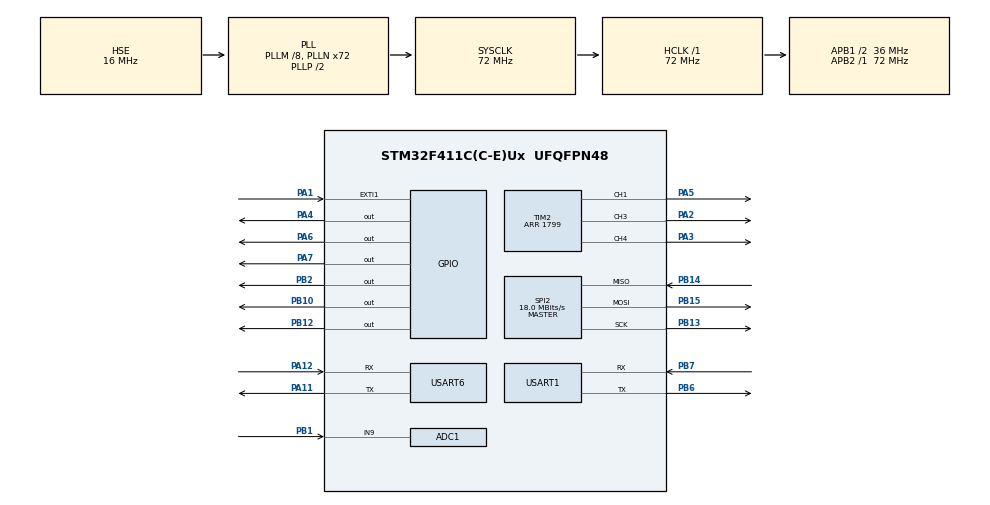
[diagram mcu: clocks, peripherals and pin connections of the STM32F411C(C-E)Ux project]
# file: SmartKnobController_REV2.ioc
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ADC1.Channel-0\#ChannelRegularConversion=ADC_CHANNEL_9
ADC1.ClockPrescaler=ADC_CLOCK_SYNC_PCLK_DIV4
ADC1.ContinuousConvMode=DISABLE
ADC1.NbrOfConversionFlag=1
ADC1.Rank-0\#ChannelRegularConversion=1
ADC1.SamplingTime-0\#ChannelRegularConversion=ADC_SAMPLETIME_3CYCLES
ADC1.master=1
Mcu.Family=STM32F4
Mcu.Name=STM32F411C(C-E)Ux
Mcu.Package=UFQFPN48
NVIC.EXTI1_IRQn=true\:0\:0\:false\:false\:true\:true\:true\:true
NVIC.PriorityGroup=NVIC_PRIORITYGROUP_4
NVIC.TIM2_IRQn=true\:1\:0\:true\:false\:true\:true\:true\:true
PA1.GPIO_ModeDefaultEXTI=GPIO_MODE_IT_RISING_FALLING
PA1.Signal=GPXTI1
PA11.Mode=Asynchronous
PA11.Signal=USART6_TX
PA12.Mode=Asynchronous
PA12.Signal=USART6_RX
PA13.Mode=Trace_Asynchronous_SW
PA13.Signal=SYS_JTMS-SWDIO
PA14.Mode=Trace_Asynchronous_SW
PA14.Signal=SYS_JTCK-SWCLK
PA2.Signal=S_TIM2_CH3
PA3.Signal=S_TIM2_CH4
PA4.PinState=GPIO_PIN_RESET
PA4.Signal=GPIO_Output
PA5.Signal=S_TIM2_CH1_ETR
PA6.PinState=GPIO_PIN_RESET
PA6.Signal=GPIO_Output
PA7.PinState=GPIO_PIN_RESET
PA7.Signal=GPIO_Output
PB1.Signal=ADCx_IN9
PB10.PinState=GPIO_PIN_SET
PB10.Signal=GPIO_Output
PB12.Signal=GPIO_Output
PB13.Mode=Full_Duplex_Master
PB13.Signal=SPI2_SCK
PB14.Mode=Full_Duplex_Master
PB14.Signal=SPI2_MISO
PB15.Mode=Full_Duplex_Master
PB15.Signal=SPI2_MOSI
PB2.PinState=GPIO_PIN_SET
PB2.Signal=GPIO_Output
PB3.Mode=Trace_Asynchronous_SW
PB3.Signal=SYS_JTDO-SWO
PB6.Mode=Asynchronous
PB6.Signal=USART1_TX
PB7.Mode=Asynchronous
PB7.Signal=USART1_RX
PH0\ -\ OSC_IN.Mode=HSE-External-Oscillator
PH0\ -\ OSC_IN.Signal=RCC_OSC_IN
PH1\ -\ OSC_OUT.Mode=HSE-External-Oscillator
PH1\ -\ OSC_OUT.Signal=RCC_OSC_OUT
ProjectManager.HeapSize=0x200
ProjectManager.StackSize=0x400
ProjectManager.TargetToolchain=STM32CubeIDE
RCC.48MHZClocksFreq_Value=36000000
RCC.AHBFreq_Value=72000000
RCC.APB1CLKDivider=RCC_HCLK_DIV2
RCC.APB1Freq_Value=36000000
RCC.APB1TimFreq_Value=72000000
RCC.APB2Freq_Value=72000000
RCC.APB2TimFreq_Value=72000000
RCC.CortexFreq_Value=72000000
RCC.HCLKFreq_Value=72000000
RCC.HSE_VALUE=16000000
RCC.HSI_VALUE=16000000
RCC.LSE_VALUE=32768
RCC.PLLM=8
RCC.PLLN=72
RCC.PLLSourceVirtual=RCC_PLLSOURCE_HSE
RCC.SYSCLKFreq_VALUE=72000000
RCC.SYSCLKSource=RCC_SYSCLKSOURCE_PLLCLK
RCC.VCOOutputFreq_Value=144000000
SH.ADCx_IN9.0=ADC1_IN9,IN9
SH.S_TIM2_CH1_ETR.0=TIM2_CH1,PWM Generation1 CH1
SH.S_TIM2_CH3.0=TIM2_CH3,PWM Generation3 CH3
SH.S_TIM2_CH4.0=TIM2_CH4,PWM Generation4 CH4
SPI2.CLKPhase=SPI_PHASE_2EDGE
SPI2.CalculateBaudRate=18.0 MBits/s
SPI2.DataSize=SPI_DATASIZE_16BIT
SPI2.Direction=SPI_DIRECTION_2LINES
SPI2.Mode=SPI_MODE_MASTER
SPI2.VirtualType=VM_MASTER
TIM2.Channel-PWM\ Generation1\ CH1=TIM_CHANNEL_1
TIM2.Channel-PWM\ Generation3\ CH3=TIM_CHANNEL_3
TIM2.Channel-PWM\ Generation4\ CH4=TIM_CHANNEL_4
TIM2.CounterMode=TIM_COUNTERMODE_CENTERALIGNED1
TIM2.Period=1799
TIM2.TIM_MasterSlaveMode=TIM_MASTERSLAVEMODE_DISABLE
TIM4.Period=59999
TIM4.Prescaler=11
TIM5.Prescaler=71
USART1.VirtualMode=VM_ASYNC
USART6.VirtualMode=VM_ASYNC
VP_TIM4_VS_ClockSourceINT.Mode=Internal
VP_TIM5_VS_ClockSourceINT.Mode=Internal
board=custom

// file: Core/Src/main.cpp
/* USER CODE BEGIN Header */
/**
  ******************************************************************************
  * @file           : main.c
  * @brief          : Main program body
  ******************************************************************************
  * @attention
  *
  * Copyright (c) 2025 STMicroelectronics.
  * All rights reserved.
  *
  * This software is licensed under terms that can be found in the LICENSE file
  * in the root directory of this software component.
  * If no LICENSE file comes with this software, it is provided AS-IS.
  *
  ******************************************************************************
  */
/* USER CODE END Header */
#include "main.h"

/* USER CODE BEGIN Includes */
#include "stdio.h"
#include "stdint.h"
#include "string.h"

#include "time_utils.h"

#include "gpio.h"
#include "encoder.h"
#include "motor.h"
#include "PID.h"
#include "FSM.h"
#include "hall.h"
/* USER CODE END Includes */

ADC_HandleTypeDef hadc1;

SPI_HandleTypeDef hspi2;

TIM_HandleTypeDef htim2;
TIM_HandleTypeDef htim4;
TIM_HandleTypeDef htim5;

UART_HandleTypeDef huart1;
UART_HandleTypeDef huart6;

/* USER CODE BEGIN PV */
Motor* motorPtr = nullptr; // Initializing a null pointer to be filled in main after motor instantiation for access by callback.
Encoder* encoderPtr = nullptr;
FSM* FSMptr = nullptr;

volatile uint32_t pressT = 0;  // time for sensing button hold

char msg[50];
int loop = 1;
/* USER CODE END PV */

void SystemClock_Config(void);
static void MX_GPIO_Init(void);
static void MX_SPI2_Init(void);
static void MX_TIM2_Init(void);
static void MX_USART6_UART_Init(void);
static void MX_TIM4_Init(void);
static void MX_TIM5_Init(void);
static void MX_ADC1_Init(void);
static void MX_USART1_UART_Init(void);

int main(void)
{

  /* MCU Configuration--------------------------------------------------------*/

  /* Reset of all peripherals, Initializes the Flash interface and the Systick. */
  HAL_Init();

  /* Configure the system clock */
  SystemClock_Config();

  /* Initialize all configured peripherals */
  MX_GPIO_Init();
  MX_SPI2_Init();
  MX_TIM2_Init();
  //MX_USART6_UART_Init();
  MX_TIM4_Init();
  MX_TIM5_Init();
  MX_ADC1_Init();
  //MX_USART1_UART_Init();
  /* USER CODE BEGIN 2 */
  //HAL_TIM_Base_Start(&htim4);	// timer for encoder updating CURRENTLY NOT USING INTERRUPT, CHANGE IF NEEDED to ..._IT
  HAL_TIM_Base_Start(&htim5);	// timer for microsecond timing

  HAL_ADC_Start(&hadc1);		// starting ADC
  Hall my_hall(&hadc1);

  GPIO CSn(GPIOB, GPIO_PIN_12); // Custom GPIO class to interface with pins more easily
  Encoder my_encoder(&hspi2, &htim5, CSn);
  encoderPtr = &my_encoder;

  HAL_TIM_Base_Start_IT(&htim2); // timer for PWM and commutation interrupt
  HAL_TIM_PWM_Start(&htim2, TIM_CHANNEL_3);	//PWMa
  HAL_TIM_PWM_Start(&htim2, TIM_CHANNEL_4); //PWMb
  HAL_TIM_PWM_Start(&htim2, TIM_CHANNEL_1); //PWMc
  GPIO enA(GPIOA, GPIO_PIN_7);
  GPIO enB(GPIOA, GPIO_PIN_4);
  GPIO enC(GPIOA, GPIO_PIN_6);
  Motor my_motor(&htim2, TIM_CHANNEL_3, TIM_CHANNEL_4, TIM_CHANNEL_1, enA, enB, enC, my_encoder);
  motorPtr = &my_motor;

  float kp = 50.0f;	// [rad --> effort] 1.57 --> 80
  float ki = 0.0f;
  float kd = 0.0f;
  PID my_pid(kp, ki, kd, &htim5);

  HAL_Delay(15000); //Delay for Bluetooth pairing

  MX_USART6_UART_Init();
  MX_USART1_UART_Init();

  FSM my_FSM(my_motor, my_encoder, my_pid, my_hall, &huart1);
  FSMptr = &my_FSM;
  /* USER CODE END 2 */

  /* Infinite loop */
  /* USER CODE BEGIN WHILE */
  my_encoder.zero();
  my_motor.enable();
  my_pid.reset();

  while (loop)
  {
	  my_FSM.run((uint32_t)100); // run FSM at 100Hz
    /* USER CODE END WHILE */

    /* USER CODE BEGIN 3 */
  }
  my_motor.disable();
  /* USER CODE END 3 */
}

void SystemClock_Config(void)
{
  RCC_OscInitTypeDef RCC_OscInitStruct = {0};
  RCC_ClkInitTypeDef RCC_ClkInitStruct = {0};

  /** Configure the main internal regulator output voltage
  */
  __HAL_RCC_PWR_CLK_ENABLE();
  __HAL_PWR_VOLTAGESCALING_CONFIG(PWR_REGULATOR_VOLTAGE_SCALE1);

  /** Initializes the RCC Oscillators according to the specified parameters
  * in the RCC_OscInitTypeDef structure.
  */
  RCC_OscInitStruct.OscillatorType = RCC_OSCILLATORTYPE_HSE;
  RCC_OscInitStruct.HSEState = RCC_HSE_ON;
  RCC_OscInitStruct.PLL.PLLState = RCC_PLL_ON;
  RCC_OscInitStruct.PLL.PLLSource = RCC_PLLSOURCE_HSE;
  RCC_OscInitStruct.PLL.PLLM = 8;
  RCC_OscInitStruct.PLL.PLLN = 72;
  RCC_OscInitStruct.PLL.PLLP = RCC_PLLP_DIV2;
  RCC_OscInitStruct.PLL.PLLQ = 4;
  if (HAL_RCC_OscConfig(&RCC_OscInitStruct) != HAL_OK)
  {
    Error_Handler();
  }

  /** Initializes the CPU, AHB and APB buses clocks
  */
  RCC_ClkInitStruct.ClockType = RCC_CLOCKTYPE_HCLK|RCC_CLOCKTYPE_SYSCLK
                              |RCC_CLOCKTYPE_PCLK1|RCC_CLOCKTYPE_PCLK2;
  RCC_ClkInitStruct.SYSCLKSource = RCC_SYSCLKSOURCE_PLLCLK;
  RCC_ClkInitStruct.AHBCLKDivider = RCC_SYSCLK_DIV1;
  RCC_ClkInitStruct.APB1CLKDivider = RCC_HCLK_DIV2;
  RCC_ClkInitStruct.APB2CLKDivider = RCC_HCLK_DIV1;

  if (HAL_RCC_ClockConfig(&RCC_ClkInitStruct, FLASH_LATENCY_2) != HAL_OK)
  {
    Error_Handler();
  }
}

static void MX_ADC1_Init(void)
{

  ADC_ChannelConfTypeDef sConfig = {0};

  /** Configure the global features of the ADC (Clock, Resolution, Data Alignment and number of conversion)
  */
  hadc1.Instance = ADC1;
  hadc1.Init.ClockPrescaler = ADC_CLOCK_SYNC_PCLK_DIV4;
  hadc1.Init.Resolution = ADC_RESOLUTION_12B;
  hadc1.Init.ScanConvMode = DISABLE;
  hadc1.Init.ContinuousConvMode = DISABLE;
  hadc1.Init.DiscontinuousConvMode = DISABLE;
  hadc1.Init.ExternalTrigConvEdge = ADC_EXTERNALTRIGCONVEDGE_NONE;
  hadc1.Init.ExternalTrigConv = ADC_SOFTWARE_START;
  hadc1.Init.DataAlign = ADC_DATAALIGN_RIGHT;
  hadc1.Init.NbrOfConversion = 1;
  hadc1.Init.DMAContinuousRequests = DISABLE;
  hadc1.Init.EOCSelection = ADC_EOC_SINGLE_CONV;
  if (HAL_ADC_Init(&hadc1) != HAL_OK)
  {
    Error_Handler();
  }

  /** Configure for the selected ADC regular channel its corresponding rank in the sequencer and its sample time.
  */
  sConfig.Channel = ADC_CHANNEL_9;
  sConfig.Rank = 1;
  sConfig.SamplingTime = ADC_SAMPLETIME_3CYCLES;
  if (HAL_ADC_ConfigChannel(&hadc1, &sConfig) != HAL_OK)
  {
    Error_Handler();
  }

}

static void MX_SPI2_Init(void)
{

  /* SPI2 parameter configuration*/
  hspi2.Instance = SPI2;
  hspi2.Init.Mode = SPI_MODE_MASTER;
  hspi2.Init.Direction = SPI_DIRECTION_2LINES;
  hspi2.Init.DataSize = SPI_DATASIZE_16BIT;
  hspi2.Init.CLKPolarity = SPI_POLARITY_LOW;
  hspi2.Init.CLKPhase = SPI_PHASE_2EDGE;
  hspi2.Init.NSS = SPI_NSS_SOFT;
  hspi2.Init.BaudRatePrescaler = SPI_BAUDRATEPRESCALER_2;
  hspi2.Init.FirstBit = SPI_FIRSTBIT_MSB;
  hspi2.Init.TIMode = SPI_TIMODE_DISABLE;
  hspi2.Init.CRCCalculation = SPI_CRCCALCULATION_DISABLE;
  hspi2.Init.CRCPolynomial = 10;
  if (HAL_SPI_Init(&hspi2) != HAL_OK)
  {
    Error_Handler();
  }

}

static void MX_TIM2_Init(void)
{

  TIM_MasterConfigTypeDef sMasterConfig = {0};
  TIM_OC_InitTypeDef sConfigOC = {0};

  htim2.Instance = TIM2;
  htim2.Init.Prescaler = 0;
  htim2.Init.CounterMode = TIM_COUNTERMODE_CENTERALIGNED1;
  htim2.Init.Period = 1799;
  htim2.Init.ClockDivision = TIM_CLOCKDIVISION_DIV1;
  htim2.Init.AutoReloadPreload = TIM_AUTORELOAD_PRELOAD_DISABLE;
  if (HAL_TIM_PWM_Init(&htim2) != HAL_OK)
  {
    Error_Handler();
  }
  sMasterConfig.MasterOutputTrigger = TIM_TRGO_RESET;
  sMasterConfig.MasterSlaveMode = TIM_MASTERSLAVEMODE_DISABLE;
  if (HAL_TIMEx_MasterConfigSynchronization(&htim2, &sMasterConfig) != HAL_OK)
  {
    Error_Handler();
  }
  sConfigOC.OCMode = TIM_OCMODE_PWM1;
  sConfigOC.Pulse = 0;
  sConfigOC.OCPolarity = TIM_OCPOLARITY_HIGH;
  sConfigOC.OCFastMode = TIM_OCFAST_DISABLE;
  if (HAL_TIM_PWM_ConfigChannel(&htim2, &sConfigOC, TIM_CHANNEL_1) != HAL_OK)
  {
    Error_Handler();
  }
  if (HAL_TIM_PWM_ConfigChannel(&htim2, &sConfigOC, TIM_CHANNEL_3) != HAL_OK)
  {
    Error_Handler();
  }
  if (HAL_TIM_PWM_ConfigChannel(&htim2, &sConfigOC, TIM_CHANNEL_4) != HAL_OK)
  {
    Error_Handler();
  }
  HAL_TIM_MspPostInit(&htim2);

}

static void MX_TIM4_Init(void)
{

  TIM_ClockConfigTypeDef sClockSourceConfig = {0};
  TIM_MasterConfigTypeDef sMasterConfig = {0};

  htim4.Instance = TIM4;
  htim4.Init.Prescaler = 11;
  htim4.Init.CounterMode = TIM_COUNTERMODE_UP;
  htim4.Init.Period = 59999;
  htim4.Init.ClockDivision = TIM_CLOCKDIVISION_DIV1;
  htim4.Init.AutoReloadPreload = TIM_AUTORELOAD_PRELOAD_DISABLE;
  if (HAL_TIM_Base_Init(&htim4) != HAL_OK)
  {
    Error_Handler();
  }
  sClockSourceConfig.ClockSource = TIM_CLOCKSOURCE_INTERNAL;
  if (HAL_TIM_ConfigClockSource(&htim4, &sClockSourceConfig) != HAL_OK)
  {
    Error_Handler();
  }
  sMasterConfig.MasterOutputTrigger = TIM_TRGO_RESET;
  sMasterConfig.MasterSlaveMode = TIM_MASTERSLAVEMODE_DISABLE;
  if (HAL_TIMEx_MasterConfigSynchronization(&htim4, &sMasterConfig) != HAL_OK)
  {
    Error_Handler();
  }

}

static void MX_TIM5_Init(void)
{

  TIM_ClockConfigTypeDef sClockSourceConfig = {0};
  TIM_MasterConfigTypeDef sMasterConfig = {0};

  htim5.Instance = TIM5;
  htim5.Init.Prescaler = 71;
  htim5.Init.CounterMode = TIM_COUNTERMODE_UP;
  htim5.Init.Period = 4294967295;
  htim5.Init.ClockDivision = TIM_CLOCKDIVISION_DIV1;
  htim5.Init.AutoReloadPreload = TIM_AUTORELOAD_PRELOAD_DISABLE;
  if (HAL_TIM_Base_Init(&htim5) != HAL_OK)
  {
    Error_Handler();
  }
  sClockSourceConfig.ClockSource = TIM_CLOCKSOURCE_INTERNAL;
  if (HAL_TIM_ConfigClockSource(&htim5, &sClockSourceConfig) != HAL_OK)
  {
    Error_Handler();
  }
  sMasterConfig.MasterOutputTrigger = TIM_TRGO_RESET;
  sMasterConfig.MasterSlaveMode = TIM_MASTERSLAVEMODE_DISABLE;
  if (HAL_TIMEx_MasterConfigSynchronization(&htim5, &sMasterConfig) != HAL_OK)
  {
    Error_Handler();
  }

}

static void MX_USART1_UART_Init(void)
{

  huart1.Instance = USART1;
  huart1.Init.BaudRate = 115200;
  huart1.Init.WordLength = UART_WORDLENGTH_8B;
  huart1.Init.StopBits = UART_STOPBITS_1;
  huart1.Init.Parity = UART_PARITY_NONE;
  huart1.Init.Mode = UART_MODE_TX_RX;
  huart1.Init.HwFlowCtl = UART_HWCONTROL_NONE;
  huart1.Init.OverSampling = UART_OVERSAMPLING_16;
  if (HAL_UART_Init(&huart1) != HAL_OK)
  {
    Error_Handler();
  }

}

static void MX_USART6_UART_Init(void)
{

  huart6.Instance = USART6;
  huart6.Init.BaudRate = 115200;
  huart6.Init.WordLength = UART_WORDLENGTH_8B;
  huart6.Init.StopBits = UART_STOPBITS_1;
  huart6.Init.Parity = UART_PARITY_NONE;
  huart6.Init.Mode = UART_MODE_TX_RX;
  huart6.Init.HwFlowCtl = UART_HWCONTROL_NONE;
  huart6.Init.OverSampling = UART_OVERSAMPLING_16;
  if (HAL_UART_Init(&huart6) != HAL_OK)
  {
    Error_Handler();
  }

}

static void MX_GPIO_Init(void)
{
  GPIO_InitTypeDef GPIO_InitStruct = {0};

  /* GPIO Ports Clock Enable */
  __HAL_RCC_GPIOH_CLK_ENABLE();
  __HAL_RCC_GPIOA_CLK_ENABLE();
  __HAL_RCC_GPIOB_CLK_ENABLE();

  /*Configure GPIO pin Output Level */
  HAL_GPIO_WritePin(GPIOA, GPIO_PIN_4|GPIO_PIN_6|GPIO_PIN_7, GPIO_PIN_RESET);

  /*Configure GPIO pin Output Level */
  HAL_GPIO_WritePin(GPIOB, GPIO_PIN_2|GPIO_PIN_10, GPIO_PIN_SET);

  /*Configure GPIO pin Output Level */
  HAL_GPIO_WritePin(GPIOB, GPIO_PIN_6|GPIO_PIN_12, GPIO_PIN_RESET);

  /*Configure GPIO pin : PA1 */
  GPIO_InitStruct.Pin = GPIO_PIN_1;
  GPIO_InitStruct.Mode = GPIO_MODE_IT_RISING_FALLING;
  GPIO_InitStruct.Pull = GPIO_NOPULL;
  HAL_GPIO_Init(GPIOA, &GPIO_InitStruct);

  /*Configure GPIO pins : PA4 PA6 PA7 */
  GPIO_InitStruct.Pin = GPIO_PIN_4|GPIO_PIN_6|GPIO_PIN_7;
  GPIO_InitStruct.Mode = GPIO_MODE_OUTPUT_PP;
  GPIO_InitStruct.Pull = GPIO_NOPULL;
  GPIO_InitStruct.Speed = GPIO_SPEED_FREQ_LOW;
  HAL_GPIO_Init(GPIOA, &GPIO_InitStruct);

  /*Configure GPIO pins : PB2 PB10 PB12 */
  GPIO_InitStruct.Pin = GPIO_PIN_2|GPIO_PIN_6|GPIO_PIN_10|GPIO_PIN_12;
  GPIO_InitStruct.Mode = GPIO_MODE_OUTPUT_PP;
  GPIO_InitStruct.Pull = GPIO_NOPULL;
  GPIO_InitStruct.Speed = GPIO_SPEED_FREQ_LOW;
  HAL_GPIO_Init(GPIOB, &GPIO_InitStruct);

  /* EXTI interrupt init*/
  HAL_NVIC_SetPriority(EXTI1_IRQn, 0, 0);
  HAL_NVIC_EnableIRQ(EXTI1_IRQn);

}

/* USER CODE BEGIN 4 */
void HAL_TIM_PeriodElapsedCallback(TIM_HandleTypeDef *htim) {
    if (htim->Instance == TIM2) {
        motorPtr->commutate();
    }
}

void HAL_GPIO_EXTI_Callback(uint16_t GPIO_Pin) {
    if (GPIO_Pin == GPIO_PIN_1) { // PA1

    	uint32_t now = HAL_GetTick();

    	if (HAL_GPIO_ReadPin(GPIOA, GPIO_PIN_1) == GPIO_PIN_SET) {
            pressT = now;
        }
        else {
            uint32_t pressDur = now - pressT;
            FSMptr->advanceState(pressDur > 1000);
        }
    }
}
/* USER CODE END 4 */

void Error_Handler(void)
{
  __disable_irq();
  while (1)
  {
  }
}
